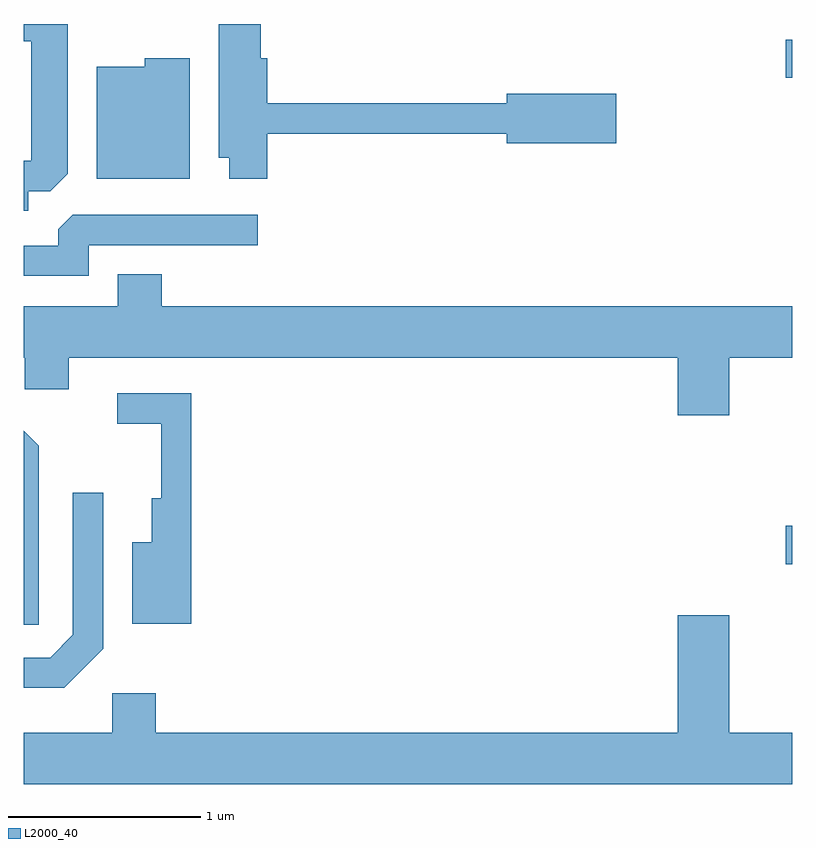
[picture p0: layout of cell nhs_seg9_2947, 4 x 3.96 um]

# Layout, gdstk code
import gdstk
lib = gdstk.Library(unit=1e-6, precision=1e-09)
def R(c, l, rs):  # rectangles x0, y0, x1, y1
    for r in rs: c.add(gdstk.rectangle(r[:2], r[2:], *l))
def P(c, l, *ps):  # polygons
    for p in ps: c.add(gdstk.Polygon(p, *l))
L2000_40 = (2000, 40)

nhs_seg9_2947 = lib.new_cell('nhs_seg9_2947')
R(nhs_seg9_2947, L2000_40, [(275.576,1999.621,275.611,1999.819), (275.576,2002.151,275.611,2002.349)])
P(nhs_seg9_2947, L2000_40, [(271.634,2001.561),(271.749,2001.561),(271.839,2001.652),(271.839,2002.432),(271.611,2002.432),(271.611,2002.341),(271.651,2002.341),(271.651,2001.719),(271.611,2001.719),(271.611,2001.461),(271.634,2001.461)],
  [(272.879,2001.861),(274.126,2001.861),(274.126,2001.811),(274.694,2001.811),(274.694,2002.069),(274.126,2002.069),(274.126,2002.019),(272.879,2002.019),(272.879,2002.254),(272.844,2002.254),(272.844,2002.432),(272.626,2002.432),(272.626,2001.736),(272.681,2001.736),(272.681,2001.626),(272.879,2001.626)],
  [(272.474,2002.254),(272.241,2002.254),(272.241,2002.209),(271.991,2002.209),(271.991,2001.626),(272.474,2001.626)],
  [(271.949,2001.281),(272.828,2001.281),(272.828,2001.439),(271.867,2001.439),(271.791,2001.364),(271.791,2001.279),(271.611,2001.279),(271.611,2001.121),(271.949,2001.121)],
  [(275.284,2000.696),(275.611,2000.696),(275.611,2000.964),(272.329,2000.964),(272.329,2001.129),(272.101,2001.129),(272.101,2000.964),(271.611,2000.964),(271.611,2000.696),(271.616,2000.696),(271.616,2000.531),(271.844,2000.531),(271.844,2000.696),(275.016,2000.696),(275.016,2000.396),(275.284,2000.396)],
  [(272.484,2000.509),(272.098,2000.509),(272.098,2000.351),(272.326,2000.351),(272.326,1999.964),(272.276,1999.964),(272.276,1999.734),(272.176,1999.734),(272.176,1999.311),(272.484,1999.311)],
  [(271.689,2000.237),(271.611,2000.315),(271.611,1999.306),(271.689,1999.306)],
  [(272.024,1999.179),(272.024,1999.993),(271.866,1999.993),(271.866,1999.252),(271.749,1999.134),(271.611,1999.134),(271.611,1998.976),(271.822,1998.976)],
  [(275.611,1998.744),(275.284,1998.744),(275.284,1999.354),(275.016,1999.354),(275.016,1998.744),(272.299,1998.744),(272.299,1998.949),(272.071,1998.949),(272.071,1998.744),(271.611,1998.744),(271.611,1998.476),(275.611,1998.476)])

lib.write_gds('nhs_seg9_2947.gds')
